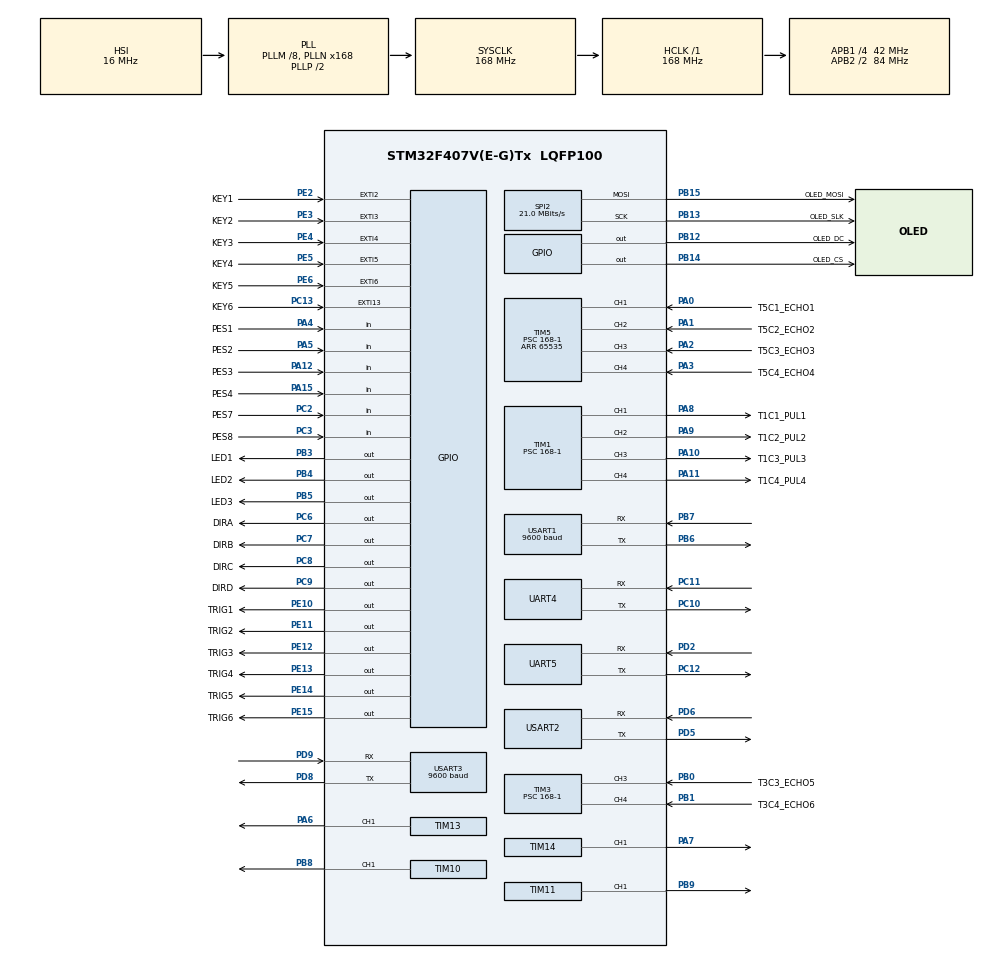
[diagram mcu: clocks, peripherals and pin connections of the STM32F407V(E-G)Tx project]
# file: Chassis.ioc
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Dma.Request0=USART1_RX
Dma.Request1=USART1_TX
Dma.Request2=USART2_RX
Dma.Request3=USART2_TX
Dma.Request4=USART3_RX
Dma.Request5=USART3_TX
Dma.Request6=UART4_RX
Dma.Request7=UART4_TX
Dma.Request8=UART5_RX
Dma.Request9=UART5_TX
Dma.UART4_RX.6.Direction=DMA_PERIPH_TO_MEMORY
Dma.UART4_RX.6.FIFOMode=DMA_FIFOMODE_DISABLE
Dma.UART4_RX.6.Instance=DMA1_Stream2
Dma.UART4_RX.6.MemDataAlignment=DMA_MDATAALIGN_BYTE
Dma.UART4_RX.6.MemInc=DMA_MINC_ENABLE
Dma.UART4_RX.6.Mode=DMA_NORMAL
Dma.UART4_RX.6.PeriphDataAlignment=DMA_PDATAALIGN_BYTE
Dma.UART4_RX.6.PeriphInc=DMA_PINC_DISABLE
Dma.UART4_RX.6.Priority=DMA_PRIORITY_LOW
Dma.UART4_TX.7.Direction=DMA_MEMORY_TO_PERIPH
Dma.UART4_TX.7.FIFOMode=DMA_FIFOMODE_DISABLE
Dma.UART4_TX.7.Instance=DMA1_Stream4
Dma.UART4_TX.7.MemDataAlignment=DMA_MDATAALIGN_BYTE
Dma.UART4_TX.7.MemInc=DMA_MINC_ENABLE
Dma.UART4_TX.7.Mode=DMA_NORMAL
Dma.UART4_TX.7.PeriphDataAlignment=DMA_PDATAALIGN_BYTE
Dma.UART4_TX.7.PeriphInc=DMA_PINC_DISABLE
Dma.UART4_TX.7.Priority=DMA_PRIORITY_LOW
Dma.UART5_RX.8.Direction=DMA_PERIPH_TO_MEMORY
Dma.UART5_RX.8.FIFOMode=DMA_FIFOMODE_DISABLE
Dma.UART5_RX.8.Instance=DMA1_Stream0
Dma.UART5_RX.8.MemDataAlignment=DMA_MDATAALIGN_BYTE
Dma.UART5_RX.8.MemInc=DMA_MINC_ENABLE
Dma.UART5_RX.8.Mode=DMA_NORMAL
Dma.UART5_RX.8.PeriphDataAlignment=DMA_PDATAALIGN_BYTE
Dma.UART5_RX.8.PeriphInc=DMA_PINC_DISABLE
Dma.UART5_RX.8.Priority=DMA_PRIORITY_LOW
Dma.UART5_TX.9.Direction=DMA_MEMORY_TO_PERIPH
Dma.UART5_TX.9.FIFOMode=DMA_FIFOMODE_DISABLE
Dma.UART5_TX.9.Instance=DMA1_Stream7
Dma.UART5_TX.9.MemDataAlignment=DMA_MDATAALIGN_BYTE
Dma.UART5_TX.9.MemInc=DMA_MINC_ENABLE
Dma.UART5_TX.9.Mode=DMA_NORMAL
Dma.UART5_TX.9.PeriphDataAlignment=DMA_PDATAALIGN_BYTE
Dma.UART5_TX.9.PeriphInc=DMA_PINC_DISABLE
Dma.UART5_TX.9.Priority=DMA_PRIORITY_LOW
Dma.USART1_RX.0.Direction=DMA_PERIPH_TO_MEMORY
Dma.USART1_RX.0.FIFOMode=DMA_FIFOMODE_DISABLE
Dma.USART1_RX.0.Instance=DMA2_Stream2
Dma.USART1_RX.0.MemDataAlignment=DMA_MDATAALIGN_BYTE
Dma.USART1_RX.0.MemInc=DMA_MINC_ENABLE
Dma.USART1_RX.0.Mode=DMA_NORMAL
Dma.USART1_RX.0.PeriphDataAlignment=DMA_PDATAALIGN_BYTE
Dma.USART1_RX.0.PeriphInc=DMA_PINC_DISABLE
Dma.USART1_RX.0.Priority=DMA_PRIORITY_LOW
Dma.USART1_TX.1.Direction=DMA_MEMORY_TO_PERIPH
Dma.USART1_TX.1.FIFOMode=DMA_FIFOMODE_DISABLE
Dma.USART1_TX.1.Instance=DMA2_Stream7
Dma.USART1_TX.1.MemDataAlignment=DMA_MDATAALIGN_BYTE
Dma.USART1_TX.1.MemInc=DMA_MINC_ENABLE
Dma.USART1_TX.1.Mode=DMA_NORMAL
Dma.USART1_TX.1.PeriphDataAlignment=DMA_PDATAALIGN_BYTE
Dma.USART1_TX.1.PeriphInc=DMA_PINC_DISABLE
Dma.USART1_TX.1.Priority=DMA_PRIORITY_LOW
Dma.USART2_RX.2.Direction=DMA_PERIPH_TO_MEMORY
Dma.USART2_RX.2.FIFOMode=DMA_FIFOMODE_DISABLE
Dma.USART2_RX.2.Instance=DMA1_Stream5
Dma.USART2_RX.2.MemDataAlignment=DMA_MDATAALIGN_BYTE
Dma.USART2_RX.2.MemInc=DMA_MINC_ENABLE
Dma.USART2_RX.2.Mode=DMA_NORMAL
Dma.USART2_RX.2.PeriphDataAlignment=DMA_PDATAALIGN_BYTE
Dma.USART2_RX.2.PeriphInc=DMA_PINC_DISABLE
Dma.USART2_RX.2.Priority=DMA_PRIORITY_LOW
Dma.USART2_TX.3.Direction=DMA_MEMORY_TO_PERIPH
Dma.USART2_TX.3.FIFOMode=DMA_FIFOMODE_DISABLE
Dma.USART2_TX.3.Instance=DMA1_Stream6
Dma.USART2_TX.3.MemDataAlignment=DMA_MDATAALIGN_BYTE
Dma.USART2_TX.3.MemInc=DMA_MINC_ENABLE
Dma.USART2_TX.3.Mode=DMA_NORMAL
Dma.USART2_TX.3.PeriphDataAlignment=DMA_PDATAALIGN_BYTE
Dma.USART2_TX.3.PeriphInc=DMA_PINC_DISABLE
Dma.USART2_TX.3.Priority=DMA_PRIORITY_LOW
Dma.USART3_RX.4.Direction=DMA_PERIPH_TO_MEMORY
Dma.USART3_RX.4.FIFOMode=DMA_FIFOMODE_DISABLE
Dma.USART3_RX.4.Instance=DMA1_Stream1
Dma.USART3_RX.4.MemDataAlignment=DMA_MDATAALIGN_BYTE
Dma.USART3_RX.4.MemInc=DMA_MINC_ENABLE
Dma.USART3_RX.4.Mode=DMA_NORMAL
Dma.USART3_RX.4.PeriphDataAlignment=DMA_PDATAALIGN_BYTE
Dma.USART3_RX.4.PeriphInc=DMA_PINC_DISABLE
Dma.USART3_RX.4.Priority=DMA_PRIORITY_LOW
Dma.USART3_TX.5.Direction=DMA_MEMORY_TO_PERIPH
Dma.USART3_TX.5.FIFOMode=DMA_FIFOMODE_DISABLE
Dma.USART3_TX.5.Instance=DMA1_Stream3
Dma.USART3_TX.5.MemDataAlignment=DMA_MDATAALIGN_BYTE
Dma.USART3_TX.5.MemInc=DMA_MINC_ENABLE
Dma.USART3_TX.5.Mode=DMA_NORMAL
Dma.USART3_TX.5.PeriphDataAlignment=DMA_PDATAALIGN_BYTE
Dma.USART3_TX.5.PeriphInc=DMA_PINC_DISABLE
Dma.USART3_TX.5.Priority=DMA_PRIORITY_LOW
Mcu.Family=STM32F4
Mcu.Name=STM32F407V(E-G)Tx
Mcu.Package=LQFP100
NVIC.DMA1_Stream0_IRQn=true\:0\:0\:false\:false\:true\:false\:true\:true
NVIC.DMA1_Stream1_IRQn=true\:0\:0\:false\:false\:true\:false\:true\:true
NVIC.DMA1_Stream2_IRQn=true\:0\:0\:false\:false\:true\:false\:true\:true
NVIC.DMA1_Stream3_IRQn=true\:0\:0\:false\:false\:true\:false\:true\:true
NVIC.DMA1_Stream4_IRQn=true\:0\:0\:false\:false\:true\:false\:true\:true
NVIC.DMA1_Stream5_IRQn=true\:0\:0\:false\:false\:true\:false\:true\:true
NVIC.DMA1_Stream6_IRQn=true\:0\:0\:false\:false\:true\:false\:true\:true
NVIC.DMA1_Stream7_IRQn=true\:0\:0\:false\:false\:true\:false\:true\:true
NVIC.DMA2_Stream2_IRQn=true\:0\:0\:false\:false\:true\:false\:true\:true
NVIC.DMA2_Stream7_IRQn=true\:0\:0\:false\:false\:true\:false\:true\:true
NVIC.EXTI15_10_IRQn=true\:5\:0\:true\:false\:true\:true\:true\:true
NVIC.EXTI2_IRQn=true\:5\:0\:true\:false\:true\:true\:true\:true
NVIC.EXTI3_IRQn=true\:5\:0\:true\:false\:true\:true\:true\:true
NVIC.EXTI4_IRQn=true\:5\:0\:true\:false\:true\:true\:true\:true
NVIC.EXTI9_5_IRQn=true\:5\:0\:true\:false\:true\:true\:true\:true
NVIC.PriorityGroup=NVIC_PRIORITYGROUP_4
NVIC.SPI2_IRQn=true\:0\:0\:false\:false\:true\:true\:true\:true
NVIC.TIM1_BRK_TIM9_IRQn=true\:0\:0\:false\:false\:true\:true\:true\:true
NVIC.TIM1_CC_IRQn=true\:0\:0\:false\:false\:true\:true\:true\:true
NVIC.TIM1_TRG_COM_TIM11_IRQn=true\:0\:0\:false\:false\:true\:true\:true\:true
NVIC.TIM1_UP_TIM10_IRQn=true\:0\:0\:false\:false\:true\:true\:true\:true
NVIC.TIM2_IRQn=true\:0\:0\:false\:false\:true\:true\:true\:true
NVIC.TIM3_IRQn=true\:0\:0\:false\:false\:true\:true\:true\:true
NVIC.TIM5_IRQn=true\:0\:0\:false\:false\:true\:true\:true\:true
NVIC.TIM6_DAC_IRQn=true\:0\:0\:false\:false\:true\:true\:true\:true
NVIC.TIM8_TRG_COM_TIM14_IRQn=true\:0\:0\:false\:false\:true\:true\:true\:true
NVIC.TIM8_UP_TIM13_IRQn=true\:0\:0\:false\:false\:true\:true\:true\:true
NVIC.UART4_IRQn=true\:0\:0\:false\:false\:true\:true\:true\:true
NVIC.UART5_IRQn=true\:0\:0\:false\:false\:true\:true\:true\:true
NVIC.USART1_IRQn=true\:0\:0\:false\:false\:true\:true\:true\:true
NVIC.USART2_IRQn=true\:0\:0\:false\:false\:true\:true\:true\:true
NVIC.USART3_IRQn=true\:0\:0\:false\:false\:true\:true\:true\:true
PA0-WKUP.GPIO_Label=T5C1_ECHO1
PA0-WKUP.Signal=S_TIM5_CH1
PA1.GPIO_Label=T5C2_ECHO2
PA1.Signal=S_TIM5_CH2
PA10.GPIO_Label=T1C3_PUL3
PA10.GPIO_Speed=GPIO_SPEED_FREQ_HIGH
PA10.Signal=S_TIM1_CH3
PA11.GPIO_Label=T1C4_PUL4
PA11.GPIO_Speed=GPIO_SPEED_FREQ_HIGH
PA11.Signal=S_TIM1_CH4
PA12.GPIO_Label=PES3
PA12.Signal=GPIO_Input
PA13.Mode=Serial_Wire
PA13.Signal=SYS_JTMS-SWDIO
PA14.Mode=Serial_Wire
PA14.Signal=SYS_JTCK-SWCLK
PA15.GPIO_Label=PES4
PA15.Signal=GPIO_Input
PA2.GPIO_Label=T5C3_ECHO3
PA2.Signal=S_TIM5_CH3
PA3.GPIO_Label=T5C4_ECHO4
PA3.Signal=S_TIM5_CH4
PA4.GPIO_Label=PES1
PA4.Signal=GPIO_Input
PA5.GPIO_Label=PES2
PA5.Signal=GPIO_Input
PA6.Signal=S_TIM13_CH1
PA7.Signal=S_TIM14_CH1
PA8.GPIO_Label=T1C1_PUL1
PA8.GPIO_Speed=GPIO_SPEED_FREQ_HIGH
PA8.Signal=S_TIM1_CH1
PA9.GPIO_Label=T1C2_PUL2
PA9.GPIO_Speed=GPIO_SPEED_FREQ_HIGH
PA9.Signal=S_TIM1_CH2
PB0.GPIO_Label=T3C3_ECHO5
PB0.Signal=S_TIM3_CH3
PB1.GPIO_Label=T3C4_ECHO6
PB1.Signal=S_TIM3_CH4
PB12.GPIO_Label=OLED_DC
PB12.Signal=GPIO_Output
PB13.GPIO_Label=OLED_SLK
PB13.Mode=TX_Only_Simplex_Unidirect_Master
PB13.Signal=SPI2_SCK
PB14.GPIO_Label=OLED_CS
PB14.Signal=GPIO_Output
PB15.GPIO_Label=OLED_MOSI
PB15.Mode=TX_Only_Simplex_Unidirect_Master
PB15.Signal=SPI2_MOSI
PB3.GPIO_Label=LED1
PB3.Signal=GPIO_Output
PB4.GPIO_Label=LED2
PB4.Signal=GPIO_Output
PB5.GPIO_Label=LED3
PB5.Signal=GPIO_Output
PB6.Mode=Asynchronous
PB6.Signal=USART1_TX
PB7.Mode=Asynchronous
PB7.Signal=USART1_RX
PB8.Signal=S_TIM10_CH1
PB9.Signal=S_TIM11_CH1
PC10.Mode=Asynchronous
PC10.Signal=UART4_TX
PC11.Mode=Asynchronous
PC11.Signal=UART4_RX
PC12.Mode=Asynchronous
PC12.Signal=UART5_TX
PC13-ANTI_TAMP.GPIO_Label=KEY6
PC13-ANTI_TAMP.GPIO_ModeDefaultEXTI=GPIO_MODE_IT_RISING
PC13-ANTI_TAMP.GPIO_PuPd=GPIO_PULLUP
PC13-ANTI_TAMP.Signal=GPXTI13
PC2.GPIO_Label=PES7
PC2.Signal=GPIO_Input
PC3.GPIO_Label=PES8
PC3.Signal=GPIO_Input
PC6.GPIO_Label=DIRA
PC6.Signal=GPIO_Output
PC7.GPIO_Label=DIRB
PC7.Signal=GPIO_Output
PC8.GPIO_Label=DIRC
PC8.Signal=GPIO_Output
PC9.GPIO_Label=DIRD
PC9.Signal=GPIO_Output
PD2.Mode=Asynchronous
PD2.Signal=UART5_RX
PD5.Mode=Asynchronous
PD5.Signal=USART2_TX
PD6.Mode=Asynchronous
PD6.Signal=USART2_RX
PD8.Mode=Asynchronous
PD8.Signal=USART3_TX
PD9.Mode=Asynchronous
PD9.Signal=USART3_RX
PE10.GPIO_Label=TRIG1
PE10.GPIO_PuPd=GPIO_PULLDOWN
PE10.Signal=GPIO_Output
PE11.GPIO_Label=TRIG2
PE11.GPIO_PuPd=GPIO_PULLDOWN
PE11.Signal=GPIO_Output
PE12.GPIO_Label=TRIG3
PE12.GPIO_PuPd=GPIO_PULLDOWN
PE12.Signal=GPIO_Output
PE13.GPIO_Label=TRIG4
PE13.GPIO_PuPd=GPIO_PULLDOWN
PE13.Signal=GPIO_Output
PE14.GPIO_Label=TRIG5
PE14.GPIO_PuPd=GPIO_PULLDOWN
PE14.Signal=GPIO_Output
PE15.GPIO_Label=TRIG6
PE15.GPIO_PuPd=GPIO_PULLDOWN
PE15.Signal=GPIO_Output
PE2.GPIO_Label=KEY1
PE2.GPIO_ModeDefaultEXTI=GPIO_MODE_IT_RISING
PE2.GPIO_PuPd=GPIO_PULLUP
PE2.Signal=GPXTI2
PE3.GPIO_Label=KEY2
PE3.GPIO_ModeDefaultEXTI=GPIO_MODE_IT_RISING
PE3.GPIO_PuPd=GPIO_PULLUP
PE3.Signal=GPXTI3
PE4.GPIO_Label=KEY3
PE4.GPIO_ModeDefaultEXTI=GPIO_MODE_IT_RISING
PE4.GPIO_PuPd=GPIO_PULLUP
PE4.Signal=GPXTI4
PE5.GPIO_Label=KEY4
PE5.GPIO_ModeDefaultEXTI=GPIO_MODE_IT_RISING
PE5.GPIO_PuPd=GPIO_PULLUP
PE5.Signal=GPXTI5
PE6.GPIO_Label=KEY5
PE6.GPIO_ModeDefaultEXTI=GPIO_MODE_IT_RISING
PE6.GPIO_PuPd=GPIO_PULLUP
PE6.Signal=GPXTI6
PH0-OSC_IN.Mode=HSE-External-Oscillator
PH0-OSC_IN.Signal=RCC_OSC_IN
PH1-OSC_OUT.Mode=HSE-External-Oscillator
PH1-OSC_OUT.Signal=RCC_OSC_OUT
ProjectManager.HeapSize=0x200
ProjectManager.StackSize=0x400
ProjectManager.TargetToolchain=MDK-ARM V5.32
RCC.48MHZClocksFreq_Value=84000000
RCC.AHBFreq_Value=168000000
RCC.APB1CLKDivider=RCC_HCLK_DIV4
RCC.APB1Freq_Value=42000000
RCC.APB1TimFreq_Value=84000000
RCC.APB2CLKDivider=RCC_HCLK_DIV2
RCC.APB2Freq_Value=84000000
RCC.APB2TimFreq_Value=168000000
RCC.CortexFreq_Value=168000000
RCC.HCLKFreq_Value=168000000
RCC.HSE_VALUE=8000000
RCC.HSI_VALUE=16000000
RCC.LSE_VALUE=32768
RCC.PLLM=8
RCC.PLLN=168
RCC.SYSCLKFreq_VALUE=168000000
RCC.SYSCLKSource=RCC_SYSCLKSOURCE_PLLCLK
RCC.VCOOutputFreq_Value=336000000
SH.S_TIM10_CH1.0=TIM10_CH1,Output Compare1 CH1
SH.S_TIM11_CH1.0=TIM11_CH1,Output Compare1 CH1
SH.S_TIM13_CH1.0=TIM13_CH1,Output Compare1 CH1
SH.S_TIM14_CH1.0=TIM14_CH1,Output Compare1 CH1
SH.S_TIM1_CH1.0=TIM1_CH1,Output Compare1 CH1
SH.S_TIM1_CH2.0=TIM1_CH2,Output Compare2 CH2
SH.S_TIM1_CH3.0=TIM1_CH3,Output Compare3 CH3
SH.S_TIM1_CH4.0=TIM1_CH4,Output Compare4 CH4
SH.S_TIM3_CH3.0=TIM3_CH3,Input_Capture3_from_TI3
SH.S_TIM3_CH4.0=TIM3_CH4,Input_Capture4_from_TI4
SH.S_TIM5_CH1.0=TIM5_CH1,Input_Capture1_from_TI1
SH.S_TIM5_CH2.0=TIM5_CH2,Input_Capture2_from_TI2
SH.S_TIM5_CH3.0=TIM5_CH3,Input_Capture3_from_TI3
SH.S_TIM5_CH4.0=TIM5_CH4,Input_Capture4_from_TI4
SPI2.CalculateBaudRate=21.0 MBits/s
SPI2.Direction=SPI_DIRECTION_2LINES
SPI2.Mode=SPI_MODE_MASTER
SPI2.VirtualType=VM_MASTER
TIM1.Channel-Output\ Compare1\ CH1=TIM_CHANNEL_1
TIM1.Channel-Output\ Compare2\ CH2=TIM_CHANNEL_2
TIM1.Channel-Output\ Compare3\ CH3=TIM_CHANNEL_3
TIM1.Channel-Output\ Compare4\ CH4=TIM_CHANNEL_4
TIM1.OCMode_1=TIM_OCMODE_TOGGLE
TIM1.OCMode_2=TIM_OCMODE_TOGGLE
TIM1.OCMode_3=TIM_OCMODE_TOGGLE
TIM1.OCMode_4=TIM_OCMODE_TOGGLE
TIM1.Prescaler=168-1
TIM1.Pulse-Output\ Compare1\ CH1=500
TIM1.Pulse-Output\ Compare2\ CH2=500
TIM1.Pulse-Output\ Compare3\ CH3=500
TIM1.Pulse-Output\ Compare4\ CH4=500
TIM10.Channel=TIM_CHANNEL_1
TIM10.OCMode_1=TIM_OCMODE_TOGGLE
TIM10.Prescaler=168-1
TIM10.Pulse=50
TIM11.Channel=TIM_CHANNEL_1
TIM11.OCMode_1=TIM_OCMODE_TOGGLE
TIM11.Prescaler=168-1
TIM13.Channel=TIM_CHANNEL_1
TIM13.OCMode_1=TIM_OCMODE_TOGGLE
TIM13.Prescaler=168-1
TIM14.Channel=TIM_CHANNEL_1
TIM14.OCMode_1=TIM_OCMODE_TOGGLE
TIM14.Prescaler=168-1
TIM2.AutoReloadPreload=TIM_AUTORELOAD_PRELOAD_ENABLE
TIM2.Period=1000-1
TIM2.Prescaler=168-1
TIM3.Channel-Input_Capture3_from_TI3=TIM_CHANNEL_3
TIM3.Channel-Input_Capture4_from_TI4=TIM_CHANNEL_4
TIM3.ICFilter_CH3=6
TIM3.ICFilter_CH4=6
TIM3.Prescaler=168-1
TIM5.Channel-Input_Capture1_from_TI1=TIM_CHANNEL_1
TIM5.Channel-Input_Capture2_from_TI2=TIM_CHANNEL_2
TIM5.Channel-Input_Capture3_from_TI3=TIM_CHANNEL_3
TIM5.Channel-Input_Capture4_from_TI4=TIM_CHANNEL_4
TIM5.ICFilter_CH1=6
TIM5.ICFilter_CH2=6
TIM5.ICFilter_CH3=6
TIM5.ICFilter_CH4=6
TIM5.Period=65535
TIM5.Prescaler=168-1
TIM6.AutoReloadPreload=TIM_AUTORELOAD_PRELOAD_ENABLE
TIM6.Period=1000-1
TIM6.Prescaler=168-1
UART4.VirtualMode=Asynchronous
UART5.VirtualMode=Asynchronous
USART1.BaudRate=9600
USART1.VirtualMode=VM_ASYNC
USART2.VirtualMode=VM_ASYNC
USART3.BaudRate=9600
USART3.VirtualMode=VM_ASYNC
VP_TIM10_VS_ClockSourceINT.Mode=Enable_Timer
VP_TIM11_VS_ClockSourceINT.Mode=Enable_Timer
VP_TIM13_VS_ClockSourceINT.Mode=Enable_Timer
VP_TIM14_VS_ClockSourceINT.Mode=Enable_Timer
VP_TIM1_VS_ClockSourceINT.Mode=Internal
VP_TIM2_VS_ClockSourceINT.Mode=Internal
VP_TIM3_VS_ClockSourceINT.Mode=Internal
VP_TIM4_VS_ClockSourceINT.Mode=Internal
VP_TIM5_VS_ClockSourceINT.Mode=Internal
VP_TIM6_VS_ClockSourceINT.Mode=Enable_Timer
board=custom

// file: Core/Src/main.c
/* USER CODE BEGIN Header */
/**
  ******************************************************************************
  * @file           : main.c
  * @brief          : Main program body
  ******************************************************************************
  * @attention
  *
  * Copyright (c) 2024 STMicroelectronics.
  * All rights reserved.
  *
  * This software is licensed under terms that can be found in the LICENSE file
  * in the root directory of this software component.
  * If no LICENSE file comes with this software, it is provided AS-IS.
  *
  ******************************************************************************
  */
/* USER CODE END Header */
#include "main.h"
#include "dma.h"
#include "spi.h"
#include "tim.h"
#include "usart.h"
#include "gpio.h"

/* USER CODE BEGIN Includes */
#include "math.h"
#include "Bujin.h"
#include "Delay_us.h"
#include "oled.h"
#include "PID.h"
#include "SR04.h"
#include "WHT101.h"
#include "PES.h"
#include "chaoshengbo.h"
/* USER CODE END Includes */

/* USER CODE BEGIN PTD */
//#include "2ms_Task.h"
//#include "10ms_Task.h"
//#include "500ms_Task.h"
/* USER CODE END PTD */

/* USER CODE BEGIN PD */

int a=0,b=0;
uint8_t YAW_buffer[30];  //串口1，陀螺仪数组
uint8_t distancex[4];   //串口4超声波数据
uint8_t distancey[4];
uint8_t OPENCV_buffer[2];//串口3，摄像头颜色识别数组
float Distance[7];       //超声波获取距离数组
float Distance1=0.0,Distance2=0.0;

float expected_distance = 10.0f; // 期望的距离
float current_distance = 15.0f;  // 当前激光测距

uint16_t chaoshengbo;
uint16_t chaoshengbo1;
uint8_t PES[9];          //光电管检测数组
/* USER CODE END PD */

/* USER CODE BEGIN PM */
uint16_t tim=0;
uint8_t start_flag=0,accel_flag=0;
int32_t Speed1_Pulse=0,Speed2_Pulse=0,Speed3_Pulse=0,Speed4_Pulse=0;
uint8_t Color_L=0,Color_R=0;
int32_t SetSpeed=0,CurSpeed=0,LQ,LH,RQ,RH;
uint8_t Motor_Mode=0;
uint8_t angle_1,angle_2;
short angle_z;
uint8_t z[5]={0xFF,0xAA,0x76,0x00,0x00};//陀螺仪初始化归零代码
float yaw_init=0,yaw_source,yaw;//WHT101维特智能陀螺仪
float SetAngle=0.0;
int heng_flag;
int Turn_flag;//
int turn_angle;
float  x;
uint8_t num3=3;
uint8_t num4=4;
int  flag1=0;
//extern float LastDis;////////
/* USER CODE END PM */

void SystemClock_Config(void);
/* USER CODE BEGIN PFP */
float decayFactor = 0.00007;
int initialSpeed = 3700;
int minSpeed = 0;
int currentSpeed;
/* USER CODE END PFP */

int main(void)
{

  /* MCU Configuration--------------------------------------------------------*/

  /* Reset of all peripherals, Initializes the Flash interface and the Systick. */
  HAL_Init();

  /* Configure the system clock */
  SystemClock_Config();

  /* Initialize all configured peripherals */
  MX_GPIO_Init();
  MX_DMA_Init();
  MX_USART1_UART_Init();
  MX_USART2_UART_Init();
  MX_USART3_UART_Init();
  MX_SPI2_Init();
  MX_TIM1_Init();
  MX_TIM3_Init();
  MX_TIM5_Init();
  MX_TIM2_Init();
  MX_TIM4_Init();
  MX_TIM10_Init();
  MX_TIM11_Init();
  MX_TIM13_Init();
  MX_TIM14_Init();
  MX_TIM6_Init();
  MX_UART4_Init();
  MX_UART5_Init();
  /* USER CODE BEGIN 2 */

	OLED_Init();
	OLED_Clear();
	HAL_Delay(5);
	OLED_ShowString(0,0,"stm32",16,1);
	OLED_Refresh();

  Delay_us_init(168);//微秒级定时器初始化

	HAL_TIM_Base_Start_IT (&htim2 );//tim2 开启定时器中断,作为主计数定时器，实现定时任务执行
	HAL_TIM_Base_Start_IT (&htim6 );//tim6 开启定时器中断，副定时器

	HAL_TIM_Base_Start (&htim3);                  //开启定时器(超声波)
  HAL_TIM_IC_Start_IT(&htim3, TIM_CHANNEL_3);   //开启TIM2的捕获通道1，并开启捕获
	HAL_TIM_IC_Start_IT(&htim3, TIM_CHANNEL_4);   //开启TIM2的捕获通道2，并开启捕获
  __HAL_TIM_ENABLE_IT(&htim3, TIM_IT_UPDATE);   //使能更新中断

	HAL_TIM_Base_Start (&htim5);                  //开启定时器(超声波)
  HAL_TIM_IC_Start_IT(&htim5, TIM_CHANNEL_1);   //开启TIM2的捕获通道1，并开启捕获
	HAL_TIM_IC_Start_IT(&htim5, TIM_CHANNEL_2);   //开启TIM2的捕获通道2，并开启捕获
	HAL_TIM_IC_Start_IT(&htim5, TIM_CHANNEL_3);   //开启TIM2的捕获通道1，并开启捕获
	HAL_TIM_IC_Start_IT(&htim5, TIM_CHANNEL_4);   //开启TIM2的捕获通道2，并开启捕获
  __HAL_TIM_ENABLE_IT(&htim5, TIM_IT_UPDATE);   //使能更新中断

	HAL_TIM_Base_Start  (&htim1);                 //开启定时器(步进电机)
	HAL_TIM_OC_Start_IT (&htim1 ,TIM_CHANNEL_1 ); //开启TIM1 输出比较通道1
	HAL_TIM_OC_Start_IT (&htim1 ,TIM_CHANNEL_2 );
	HAL_TIM_OC_Start_IT (&htim1 ,TIM_CHANNEL_3 );
	HAL_TIM_OC_Start_IT (&htim1 ,TIM_CHANNEL_4 );

	HAL_TIM_Base_Start(&htim10);                   //开启定时器(步进电机)
	HAL_TIM_OC_Start_IT (&htim10 ,TIM_CHANNEL_1 ); //开启TIM1 输出比较通道1
	HAL_TIM_Base_Start(&htim11);
	HAL_TIM_OC_Start_IT (&htim11 ,TIM_CHANNEL_1 );
	HAL_TIM_Base_Start(&htim13);
	HAL_TIM_OC_Start_IT (&htim13 ,TIM_CHANNEL_1 );
	HAL_TIM_Base_Start(&htim14);
	HAL_TIM_OC_Start_IT (&htim14 ,TIM_CHANNEL_1 );

	//陀螺仪PID初始化
	PID_Init(&PID_Across_yaw,4.0f,.2f,0.3f);//长直线垄陀螺仪速度环 // 60.0f,0.0f,8.3f //5.0f,0.1f,0.1f
	PID_Init(&PID_Forward_Heng_Control,15.0f,0.1f,0.1f);//横向陀螺仪

	PID_Init(&PID_Sonic,5.0f,0.3f,0.4f);       //长直线垄超声波12.0f,0.0f,0.3f
	PID_Init(&PID_Sonic_stable,200.0f,1.0f,0.4f);//停车后静止检测7.0,0.1f,0.2f

	PID_Init(&PID_Sonic_stable2,7.0f,0.1f,0.2f);//停车后静止检测222 7.0,0.1f,0.2f
	PID_Init(&PID_Sonic_mid,12.0f,0.1f,0.3f);//停车后静止检测7.0,0.1f,0.2f

	 PID_Init(&PID_Deceleration, 1.0f, 0.1f, 0.05f); // 激光减速
//	PID_Init(&PID_Sonic,10.5f,0.0f,0.2f);//长直线垄超声波
//	a = (a>0?a:-a);
//	if (a > 40)
//		PID_Init(&PID_Angle_Control,3*10.0f,4*0.1f,4*10.0f);// // 20.0f,0.0f,0.5f
//	if (a <=40)
//		PID_Init(&PID_Angle_Control,0.0f,4*0.1f,4*10.0f);

	//串口1完成陀螺仪数据接收
	__HAL_UART_ENABLE_IT (&huart1 ,UART_IT_IDLE );    //串口中断使能&huart1
	HAL_UART_Receive_DMA (&huart1,YAW_buffer ,sizeof(YAW_buffer));  //cubemx开启dma串口通讯

	//串口3完成摄像头数据接收
	__HAL_UART_ENABLE_IT (&huart3 ,UART_IT_IDLE );    //串口中断使能&huart3
	HAL_UART_Receive_DMA (&huart3,OPENCV_buffer ,sizeof(OPENCV_buffer));  //cubemx开启dma串口通讯
  //串口4完成摄像头数据接收
  __HAL_UART_ENABLE_IT (&huart4 ,UART_IT_IDLE );    //串口中断使能&huart4
	HAL_UART_Receive_DMA (&huart4,distancex ,sizeof(distancex));  //cubemx开启dma串口通讯
	 __HAL_UART_ENABLE_IT (&huart5 ,UART_IT_IDLE );    //串口中断使能&huart4
	HAL_UART_Receive_DMA (&huart5,distancey ,sizeof(distancey));  //cubemx开启dma串口通讯
	//步进电机转动方向初始化
	SetSpeed =0;
	SetAngle =0;
	start_flag=0;
	Stop();
	HAL_GPIO_WritePin (DIRA_GPIO_Port ,DIRA_Pin ,GPIO_PIN_SET );
	HAL_GPIO_WritePin (DIRB_GPIO_Port ,DIRB_Pin ,GPIO_PIN_SET );
	HAL_GPIO_WritePin (DIRC_GPIO_Port ,DIRC_Pin ,GPIO_PIN_SET );
	HAL_GPIO_WritePin (DIRD_GPIO_Port ,DIRD_Pin ,GPIO_PIN_RESET );

	HAL_UART_Transmit (&huart1 ,z,5,10);//陀螺仪清零函数
	HAL_Delay (200);
	HAL_UART_Transmit (&huart3 ,"0",1,10);//板间数据交流停止标志：0
	HAL_Delay (200);

//	Forward_L(0,0);

//	SetSpeed =90;
//	SetAngle =0;

  /* USER CODE END 2 */

  /* Infinite loop */
  /* USER CODE BEGIN WHILE */
  while (1)
  {
//		MotorRQ_Ctrl(1000);

 if(start_flag==0)
{
	SetSpeed =0;
	SetAngle =0;
	Stop();
}
////////////////////////////////////////第一次直线行驶
else if(start_flag ==1)
{
  if(accel_flag==1)
	{

for(int i=0;i<3800;i+=1)
			{
			delay_us(280);
			SetSpeed=i;
			Forward_L(0,0);
			}
accel_flag=2;
SetSpeed=3700;
  }

Forward_L(Control_Across_yaw(SetAngle,yaw),0);
 if(PES[4]==0)//左侧光电管做入垄检测，当入垄后再进行超声波pid计算
	{
 Forward_L(Control_Across_yaw(SetAngle,yaw),Control_sonic(100,chaoshengbo)/2);
	}
		  if(PES[8]==0)
		{
			for(int i=3700;i>=2000;i-=0.5)
			{
				delay_us(310);
				SetSpeed=i;
			  Forward_L(Control_Across_yaw(SetAngle,yaw),0);
			}

			for(int i=2000;i>=1000;i-=5)     //前侧的减速代码
			{
			delay_us(430);
			SetSpeed=i;
			Forward_L(Control_Across_yaw(SetAngle,yaw),0);//Control_Across_yaw(SetAngle,yaw)
			}

			for(int i=1000;i>=0;i-=10)
			{
			delay_us(420);
			SetSpeed=i;
			Forward_L(Control_Across_yaw(SetAngle,yaw),0);//Control_Across_yaw(SetAngle,yaw)
			}

			SetSpeed =0;
//      SetAngle=90;
			start_flag=99;
			tim=0;
		}
}
/////////////////////转弯
else if (start_flag ==99)
{
	Forward_Stable(Control_Across_yaw(SetAngle,yaw),Control_sonic_stable(90,chaoshengbo1));
	if (fabs(chaoshengbo1-100)<4||tim>100)
	{
		start_flag = 2;
		tim=0;
	}
}
else if (start_flag==2)
{
	SetAngle=90;
	a=SetAngle -yaw ;
	turn_angle = (a>0?a:-a);
	if (turn_angle > 15 && Turn_flag == 0)
	{
		Turn_flag=1;
	}
	else if (Turn_flag==1)
	{
		PID_Init(&PID_Angle_Control,40.0f,0.4f,40.0f);
		Turn_flag=2;
	}
	else if (a <= 15 && Turn_flag==2)
	{
		PID_Init(&PID_Angle_Control,0.0f,0.5f,40.0f);//0.0f,0.4f,40.0f
		Turn_flag=3;
	}
	TurnRight(Turn_Angle_Control(SetAngle,yaw));
	if (turn_angle<0.2||tim>100)
	{
		start_flag=4;
		tim=0;
	}
}
else if (start_flag==4)//&&(tim>500||tim<3000)
{
	//Forward_L(Control_Across_yaw(SetAngle,yaw),Control_sonic_stable(3.7,Distance[6]));
	Modify_ZH (Control_Across_yaw(SetAngle,yaw),0,0);
	if ((SetAngle -yaw<0.2)||tim>200)//
	{
		start_flag=6;
	}
//	start_flag=1;
}
///////////第一条垄道加速
else if (start_flag==6)//&&(tim>500||tim<3000)
{
	//Forward_L(Control_Across_yaw(SetAngle,yaw),Control_sonic_stable(3.7,Distance[6]));

	SetAngle=90;

	if(accel_flag==2)
	{

for(int i=0;i<3650;i+=1)
			{
			delay_us(200);
			SetSpeed=i;
			Forward_L(0,0);
			}
accel_flag=3;
SetSpeed=3650;
tim =0;
 }
Forward_L(Control_Across_yaw(SetAngle,yaw),0);

 if(PES[7]==0)//右侧光电管做入垄检测，当入垄后再进行超声波pid计算
	{
 Forward_L(Control_Across_yaw(SetAngle,yaw),Control_sonic(90,chaoshengbo)/2);////

	}
			 if(PES[8]==0)
		{
			for(int i=3500;i>=2000;i-=2)  //前侧垄道阶梯减速
			{
				delay_us(270);
			}
			for(int i=3500;i>=2000;i-=0.2)
			{
				delay_us(470);
				SetSpeed=i;
			  Forward_L(Control_Across_yaw(SetAngle,yaw),0);
			}

			for(int i=2000;i>=1000;i-=5)
			{
			delay_us(480);
			SetSpeed=i;
			Forward_L(Control_Across_yaw(SetAngle,yaw),0);//Control_Across_yaw(SetAngle,yaw)
			}
			for(int i=1000;i>=0;i-=20)
			{
			delay_us(490);
			SetSpeed=i;
			Forward_L(Control_Across_yaw(SetAngle,yaw),0);//Control_Across_yaw(SetAngle,yaw)
			}
			SetSpeed =0;
	    start_flag=7;
			tim=0;
		}

}
///////////////////////////////第一次横向移动到下一个笼道
else if(start_flag ==7)
{

//	 tim=0;
	if(	accel_flag==3)
	{	for(int i=0;i<3000;i+=2)
			{
			delay_us(300);
			SetSpeed=i;
			Heng(Control_Across_yaw(SetAngle,yaw),0);
			}
	heng_flag=0;
	accel_flag=4;
	SetSpeed =3400;
	SetAngle =90;
	}
	Heng(Control_Across_yaw(SetAngle,yaw),0);
	 if(PES[3]==0)
       {
         heng_flag=1;}

	if(heng_flag==1&&PES[3]==1)
	{
	 heng_flag=2;
	 tim=0;
	}
	if(heng_flag==2&&tim>22)
	{

			for(int i=3500;i>=0;i-=1)
			{
			delay_us(80);
			SetSpeed=i;
			Heng(Control_Across_yaw(SetAngle,yaw),0);
			}
			start_flag =8;
	}

}
/////////////////////  第二条垄道作业

else if(start_flag ==8)
{

//	SetAngle =0;
	if(accel_flag==4)
	{
		HAL_UART_Transmit (&huart3 ,"1",1,10);//板间数据交流起始标志：1
		for(int i=0;i<3600;i+=1)//梯形加速
		{
			delay_us(200);
			SetSpeed=-i;
			Forward_L(Control_Across_yaw(SetAngle,yaw),0);
	  //Forward_L(Control_Across_yaw(SetAngle,yaw),Control_sonic(90,chaoshengbo)/2);
		}
		tim=0;
	accel_flag=5;
	SetSpeed =-3500;
	}

  if(flag1==0)
	Forward_L(Control_Across_yaw(SetAngle,yaw),0);
	if(PES[4]==0||PES[7]==0)//左右侧光电管做入垄检测，当入垄后再进行超声波pid计算
	{flag1=1;
 Forward_L(Control_Across_yaw(SetAngle,yaw),Control_sonic(120,chaoshengbo)/2);
 SetSpeed =-3400;
	}
    if(PES[3]==0)  //后侧灯管
	{
			for(int i=3400;i>=0;i-=1)
			{
			delay_us(280);
			SetSpeed=-i;
			Forward_L(0,0);//Control_Across_yaw(SetAngle,yaw)
			}
			SetSpeed =0;
			tim=0;
			start_flag=9;
			HAL_UART_Transmit (&huart3 ,"0",1,10);//板间数据交流停止标志：0
	}

}
/////////////////////第二次横向移动到下一个笼道
else if(start_flag ==9)
{

//	 tim=0;
	if(	accel_flag==5)
	{	for(int i=0;i<3000;i+=2)
			{
			delay_us(300);
			SetSpeed=i;
			Heng(Control_Across_yaw(SetAngle,yaw),Control_sonic(7.5,Distance[6]));
			}
	heng_flag=0;
	accel_flag=6;
	SetSpeed =3400;
	SetAngle =90;
	}
	Heng(Control_Across_yaw(SetAngle,yaw),Control_sonic(7.5,Distance[6]));
	  if(PES[8]==0)///////////////////
       {
          heng_flag=2;
		   }
	if(heng_flag==2&&PES[8]==1)
	{
	 heng_flag=3;
	 tim=0;
	}
	if(heng_flag==3&&tim>22)
	{

			for(int i=3500;i>=0;i-=1)
			{
			delay_us(80);
			SetSpeed=i;
			Heng1(Control_Across_yaw(SetAngle,yaw),0);
			}
			start_flag =10;
	}

}
//////////////////////////第三条垄道加速
else if(start_flag ==10)
{

//	SetAngle =0;
	if(accel_flag==6)
	{
		for(int i=0;i<3700;i+=1)//梯形加速
		{
			delay_us(300);
			SetSpeed=i;
			Forward_Mid_Q(Control_Across_yaw(SetAngle,yaw),0,0);
		}
		tim=0;
		accel_flag=7;
	SetSpeed =3700;
	}

//	SetAngle =0;
	Forward_Mid_Q(Control_Across_yaw(SetAngle,yaw),0,0);
	if(PES[4]==0||PES[7]==0)//左右侧光电管做入垄检测，当入垄后再进行超声波pid计算
	{
	  Forward_Mid_Q(Control_Across_yaw(SetAngle,yaw),Control_sonic(120,chaoshengbo)/2,0);
	  SetSpeed =3700;
	}
    if(PES[8]==0)  //后侧灯管
	{
		 for(int i=3500;i>=2000;i-=0.2)
			{
				delay_us(500);
				SetSpeed=i;
			  Forward_L(Control_Across_yaw(SetAngle,yaw),0);
			}

			for(int i=2000;i>=1000;i-=1)
			{
			delay_us(600);
			SetSpeed=i;
			Forward_L(Control_Across_yaw(SetAngle,yaw),0);//Control_Across_yaw(SetAngle,yaw)
			}
			for(int i=1000;i>=0;i-=5)
			{
			delay_us(500);
			SetSpeed=i;
			Forward_L(Control_Across_yaw(SetAngle,yaw),0);//Control_Across_yaw(SetAngle,yaw)
			}
			SetSpeed =0;
			tim=0;
			start_flag=11;
	}
}

/////////////////////////////////////第三次横向移动到下一个笼道

else if(start_flag ==11)
{

//	 tim=0;
	if(	accel_flag==7)
	{	for(int i=0;i<3200;i+=2)
			{
			delay_us(300);
			SetSpeed=i;
			Heng(Control_Across_yaw(SetAngle,yaw),0);
			}
	heng_flag=0;
	accel_flag=8;
	SetSpeed =3400;
	SetAngle =90;
	}
	Heng(Control_Across_yaw(SetAngle,yaw),0);
	  if(PES[3]==0)
       {
          heng_flag=2;
		}
	if(heng_flag==2&&PES[3]==1)
	{
	 heng_flag=3;
	 tim=0;
	}
	if(heng_flag==3&&tim>22)
	{

			for(int i=3500;i>=0;i-=1)
			{
			delay_us(80);
			SetSpeed=i;
			Heng(Control_Across_yaw(SetAngle,yaw),0);
			}
			start_flag =12;
	}

}
//////////////////////////////////////////第四条垄道作业

else if(start_flag ==12)
{

//	SetAngle =0;
	if(accel_flag==8)
	{
		HAL_UART_Transmit (&huart3 ,"1",1,10);//板间数据交流起始标志：1
		for(int i=0;i<3600;i+=1)//梯形加速
		{
			delay_us(200);
			SetSpeed=i;
			Forward_Mid_H(Control_Across_yaw(SetAngle,yaw),0,0);
		}
		tim=0;
		accel_flag=9;
	SetSpeed =3500;
	}

//	SetAngle =0;
	Forward_Mid_H(Control_Across_yaw(SetAngle,yaw),0,0);
	if(PES[4]==0||PES[7]==0)//左右侧光电管做入垄检测，当入垄后再进行超声波pid计算
	{
	  Forward_Mid_H(Control_Across_yaw(SetAngle,yaw),Control_sonic(120,chaoshengbo)/2,0);
	  SetSpeed =3500;
	}
    if(PES[3]==0)  //后侧灯管
	{

			for(int i=3500;i>=0;i-=1)
			{
			delay_us(250);
			SetSpeed=-i;
			Forward_L(0,0);//Control_Across_yaw(SetAngle,yaw)
			}
			SetSpeed =0;
			tim=0;
			start_flag=13;
			HAL_UART_Transmit (&huart3 ,"0",1,10);//板间数据交流起始标志：0
	}

}
/////////////////////////////////////第四次横向移动到下一个笼道
else if(start_flag ==13)
{

//	 tim=0;
	if(	accel_flag==9)
	{	for(int i=0;i<3000;i+=2)
			{
			delay_us(300);
			SetSpeed=i;
			Heng(Control_Across_yaw(SetAngle,yaw),0);
			}
	heng_flag=0;
	accel_flag=10;
	SetSpeed =3400;
	SetAngle =90;
	}
	Heng(Control_Across_yaw(SetAngle,yaw),0);
	  if(PES[8]==0)
       {
          heng_flag=2;
		}
	if(heng_flag==2&&PES[8]==1)
	{
	 heng_flag=3;
	 tim=0;
	}
	if(heng_flag==3&&tim>22)
	{

			for(int i=3500;i>=0;i-=1)
			{
			delay_us(80);
			SetSpeed=i;
			Heng(Control_Across_yaw(SetAngle,yaw),0);
			}
			start_flag =14;
	}

}
/////////////////////////////////////第五条垄道加速
else if(start_flag ==14)
{

//	SetAngle =0;
	if(accel_flag==10)
	{
	HAL_UART_Transmit (&huart3 ,"0",1,10);//板间数据交流起始标志：1
		for(int i=0;i<3650;i+=1)//梯形加速
		{
			delay_us(300);
			SetSpeed=i;
			Forward_Mid_Q(Control_Across_yaw(SetAngle,yaw),0,0);
		}
		tim=0;
		accel_flag=11;
	SetSpeed =3700;
	}

//	SetAngle =0;
	Forward_Mid_Q(Control_Across_yaw(SetAngle,yaw),0,0);
	if(PES[4]==0||PES[7]==0)//左右侧光电管做入垄检测，当入垄后再进行超声波pid计算
	{
	  Forward_Mid_Q(Control_Across_yaw(SetAngle,yaw),Control_sonic(100,chaoshengbo)/2,0);
	  SetSpeed =3700;
	}
    if(PES[8]==0)  //后侧灯管
	{

//			for(int i=3650;i>=0;i-=1)
//			{
//			delay_us(470);
//			SetSpeed=i;
//			Forward_L(0,0);//Control_Across_yaw(SetAngle,yaw)
//			}
	  	for(int i=3500;i>=2000;i-=0.2)
			{
				delay_us(700);
				SetSpeed=i;
			  Forward_L(Control_Across_yaw(SetAngle,yaw),0);
			}

			for(int i=2000;i>=1000;i-=1)
			{
			delay_us(700);
			SetSpeed=i;
			Forward_L(Control_Across_yaw(SetAngle,yaw),0);//Control_Across_yaw(SetAngle,yaw)
			}
			for(int i=1000;i>=0;i-=5)
			{
			delay_us(700);
			SetSpeed=i;
			Forward_L(Control_Across_yaw(SetAngle,yaw),0);//Control_Across_yaw(SetAngle,yaw)
			}
			SetSpeed =0;
			tim=0;
			start_flag=15;/////////
	}
}
//////////////////////////第五次横向移动到下一个笼道

else if(start_flag ==15)
{

//	 tim=0;
	if(	accel_flag==11)
	{	for(int i=0;i<3000;i+=2)
			{
			delay_us(300);
			SetSpeed=i;
			Heng(Control_Across_yaw(SetAngle,yaw),0);
			}
	heng_flag=0;
	accel_flag=12;
	SetSpeed =3400;
	SetAngle =90;
	}
	Heng(Control_Across_yaw(SetAngle,yaw),0);
	  if(PES[3]==0)
       {
          heng_flag=2;
		}
	if(heng_flag==2&&PES[3]==1)
	{
	 heng_flag=3;
	 tim=0;
	}
	if(heng_flag==3&&tim>22)
	{

			for(int i=3500;i>=0;i-=1)
			{
			delay_us(80);
			SetSpeed=i;
			Heng(Control_Across_yaw(SetAngle,yaw),0);
			}
			start_flag =16;
	}

}
//////////////////////////第六条垄道作业

else if(start_flag ==16)
{

//	SetAngle =0;
	if(accel_flag==12)
	{
		HAL_UART_Transmit (&huart3 ,"3",1,10);//板间数据交流起始标志：1
		for(int i=0;i<3600;i+=1)//梯形加速
		{
			delay_us(300);
			SetSpeed=i;
			Forward_Mid_H(Control_Across_yaw(SetAngle,yaw),0,0);
		}
		tim=0;
		accel_flag=13;
	SetSpeed =3500;
	}

//	SetAngle =0;
	Forward_Mid_H(Control_Across_yaw(SetAngle,yaw),0,0);
	if(PES[4]==0||PES[7]==0)//左右侧光电管做入垄检测，当入垄后再进行超声波pid计算
	{
	  Forward_Mid_H(Control_Across_yaw(SetAngle,yaw),Control_sonic(120,chaoshengbo)/2,0);
	  SetSpeed =3500;
	}
    if(PES[3]==0)  //后侧灯管
	{

			for(int i=3500;i>=0;i-=1)
			{
			delay_us(250);
			SetSpeed=-i;
			Forward_L(0,0);//Control_Across_yaw(SetAngle,yaw)
			}
			SetSpeed =0;
			tim=0;
			start_flag=17;////////////////////////////////////////////////////
  HAL_UART_Transmit (&huart3 ,"0",1,10);//板间数据交流起始标志：0
	}

}
////////////////////////////离开赛道
else if(start_flag ==17)
{

//	 tim=0;
//	SetAngle=90;
	if(	accel_flag==13)
	{	for(int i=0;i<3000;i+=2)
			{
			delay_us(300);
			SetSpeed=i;
			Heng(Control_Across_yaw(SetAngle,yaw),0);
			}
	accel_flag=0;
	SetSpeed =3400;
	SetAngle =90;
	}
	Heng(Control_Across_yaw(SetAngle,yaw),0);
	 if(tim>160)
		{

			for(int i=3500;i>=0;i-=1)
			{
			delay_us(80);
			SetSpeed=i;
			Heng2(Control_Across_yaw(SetAngle,yaw),0);
			}
			start_flag =0;
		}

}

    /* USER CODE END WHILE */

  }
}

void SystemClock_Config(void)
{
  RCC_OscInitTypeDef RCC_OscInitStruct = {0};
  RCC_ClkInitTypeDef RCC_ClkInitStruct = {0};

  /** Configure the main internal regulator output voltage
  */
  __HAL_RCC_PWR_CLK_ENABLE();
  __HAL_PWR_VOLTAGESCALING_CONFIG(PWR_REGULATOR_VOLTAGE_SCALE1);

  /** Initializes the RCC Oscillators according to the specified parameters
  * in the RCC_OscInitTypeDef structure.
  */
  RCC_OscInitStruct.OscillatorType = RCC_OSCILLATORTYPE_HSI|RCC_OSCILLATORTYPE_LSI;
  RCC_OscInitStruct.HSIState = RCC_HSI_ON;
  RCC_OscInitStruct.HSICalibrationValue = RCC_HSICALIBRATION_DEFAULT;
  RCC_OscInitStruct.LSIState = RCC_LSI_ON;
  RCC_OscInitStruct.PLL.PLLState = RCC_PLL_ON;
  RCC_OscInitStruct.PLL.PLLSource = RCC_PLLSOURCE_HSI;
  RCC_OscInitStruct.PLL.PLLM = 8;
  RCC_OscInitStruct.PLL.PLLN = 168;
  RCC_OscInitStruct.PLL.PLLP = RCC_PLLP_DIV2;
  RCC_OscInitStruct.PLL.PLLQ = 4;
  if (HAL_RCC_OscConfig(&RCC_OscInitStruct) != HAL_OK)
  {
    Error_Handler();
  }

  /** Initializes the CPU, AHB and APB buses clocks
  */
  RCC_ClkInitStruct.ClockType = RCC_CLOCKTYPE_HCLK|RCC_CLOCKTYPE_SYSCLK
                              |RCC_CLOCKTYPE_PCLK1|RCC_CLOCKTYPE_PCLK2;
  RCC_ClkInitStruct.SYSCLKSource = RCC_SYSCLKSOURCE_PLLCLK;
  RCC_ClkInitStruct.AHBCLKDivider = RCC_SYSCLK_DIV1;
  RCC_ClkInitStruct.APB1CLKDivider = RCC_HCLK_DIV4;
  RCC_ClkInitStruct.APB2CLKDivider = RCC_HCLK_DIV2;

  if (HAL_RCC_ClockConfig(&RCC_ClkInitStruct, FLASH_LATENCY_5) != HAL_OK)
  {
    Error_Handler();
  }
}

/* USER CODE BEGIN 4 */

void HAL_GPIO_EXTI_Callback(uint16_t GPIO_Pin)
{

	switch(GPIO_Pin )
	{
		case KEY1_Pin:
					   break;
		case KEY2_Pin: start_flag =0;
					   break;
		case KEY3_Pin:start_flag =1;
					   accel_flag =1; break;
		case KEY4_Pin:
			HAL_UART_Transmit (&huart3 ,"3",1,10);
			break;
		case KEY5_Pin:
   HAL_UART_Transmit (&huart3 ,"1",1,10);
		break;
		case KEY6_Pin:
   HAL_UART_Transmit (&huart3 ,"0",1,10);			break;

	}

}

//void HAL_TIM_PeriodElapsedCallback (TIM_HandleTypeDef *htim)
//{
//	Sonic_Overflow_Capture(TIM5CH1_CAPTURE_STA,TIM5CH1_CAPTURE_STA);
//
//	if(htim->Instance  == htim2 .Instance )
//	{
//		Num1++;
//		Num2++;
//
//		if(Num1 ==500)
//		{
//			LED_Toggle();
//			Num1=0;
//		}
//	}
//}

/* USER CODE END 4 */

void Error_Handler(void)
{
  __disable_irq();
  while (1)
  {
  }
}
